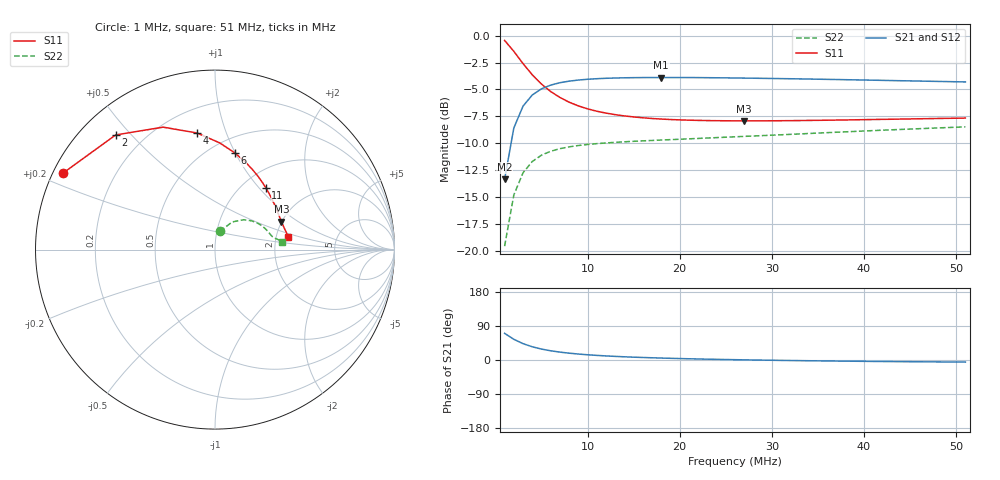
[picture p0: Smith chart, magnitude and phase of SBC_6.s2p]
# MHz S RI R 50
! S-Parameters data
! Freq  reS11  imS11  reS21  imS21  reS12  imS12  reS22  imS22
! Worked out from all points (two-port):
!   51 points, 1 MHz to 51 MHz, reference 50 ohm
!   highest |S21| = -3.89 dB at 18 MHz (marker M1); lowest = -13.4 dB at 1 MHz (marker M2)
!   |S21| within 3 dB of the highest: 2.832 MHz to end of sweep
!   lowest |S11| = -7.9 dB at 27 MHz (marker M3), VSWR 2.34, Z = 99.7 + j37 ohm
!   |S11| at or under -10 dB: nowhere
!   |S22| runs from -19.6 to -8.5 dB; largest |S21 - S12| = 0.0023
!   S11 on the Smith chart (normalised r, x): 1 MHz: 0.03, +0.24; 2 MHz: 0.10, +0.45; 4 MHz: 0.35, +0.80; 6 MHz: 0.65, +1.00; 11 MHz: 1.27, +1.09; 51 MHz: 2.33, +0.40
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1  -0.8496 0.424  0.0722 0.2023  0.0717 0.2019  0.0264 0.1017
2  -0.5535 0.6388  0.2155 0.3034  0.2141 0.3035  0.0963 0.1542
3  -0.2892 0.6822  0.3433 0.3216  0.342 0.3226  0.1595 0.1664
4  -0.101 0.65  0.4345 0.303  0.4338 0.3046  0.2048 0.1602
5  0.0255 0.5949  0.4956 0.2731  0.4953 0.275  0.2354 0.1483
6  0.111 0.5384  0.5366 0.2424  0.5366 0.2444  0.2563 0.1359
7  0.17 0.4872  0.5647 0.2147  0.5649 0.2164  0.2709 0.1248
8  0.212 0.4424  0.5842 0.1899  0.5849 0.1917  0.2814 0.1153
9  0.2426 0.4043  0.5984 0.1684  0.5993 0.17  0.2893 0.1072
10  0.2658 0.3715  0.6088 0.1495  0.6097 0.1514  0.2953 0.1005
11  0.2836 0.3433  0.6164 0.133  0.6176 0.1347  0.3001 0.0947
12  0.2978 0.319  0.6223 0.1183  0.6234 0.1199  0.304 0.0899
14  0.3183 0.2794  0.6299 0.0934  0.6312 0.095  0.3103 0.0822
16  0.3325 0.2485  0.6339 0.0739  0.6357 0.0747  0.315 0.0771
18  0.3428 0.2239  0.6362 0.0569  0.6382 0.0577  0.3189 0.073
20  0.351 0.2039  0.6371 0.0425  0.6392 0.0432  0.3224 0.0698
22  0.3575 0.1873  0.6374 0.0299  0.6393 0.0306  0.3259 0.0674
26  0.368 0.1611  0.6354 0.00906  0.6376 0.00958  0.3326 0.0637
27  0.3702 0.1555  0.6347 0.00455  0.6368 0.0051  0.3343 0.063
35  0.3855 0.1208  0.6268 -0.0247  0.6291 -0.0245  0.3477 0.0575
43  0.3976 0.0947  0.6166 -0.0448  0.6187 -0.0446  0.3614 0.0509
51  0.4076 0.0717  0.6065 -0.0582  0.6086 -0.0585  0.3743 0.0415
